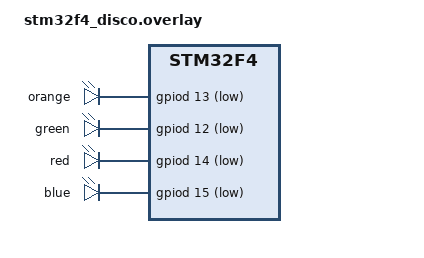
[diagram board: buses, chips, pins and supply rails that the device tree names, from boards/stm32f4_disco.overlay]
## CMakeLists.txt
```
cmake_minimum_required(VERSION 3.20.0)

list(APPEND BOARD_ROOT ${CMAKE_CURRENT_SOURCE_DIR})
find_package(Zephyr REQUIRED)
project(my_zephyr_app)

zephyr_library_sources(boards/my_board/board_init.c)

target_sources(app PRIVATE src/main.cpp)
```

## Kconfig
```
# Homework l3-task1

menuconfig LED_SUBSYSTEM
    bool "LED Subsystem"
    default y
    help
        Enable the LED subsystem for controlling LEDs.

if LED_SUBSYSTEM

# LED blink sleep time
choice
    prompt "Select the LED blink time"
    default BLINK_SLEEP_TIME_250
    
    config BLINK_SLEEP_TIME_250
        bool "very fast"

    config BLINK_SLEEP_TIME_1000
        bool "fast"

    config BLINK_SLEEP_TIME_2000
        bool "normal"

    config BLINK_SLEEP_TIME_3000
        bool "slow"
    
    config BLINK_SLEEP_TIME_5000
        bool "very slow"
endchoice

config BLINK_SLEEP_TIME_MS
    int 
    default 250 if BLINK_SLEEP_TIME_250
    default 1000 if BLINK_SLEEP_TIME_1000
    default 2000 if BLINK_SLEEP_TIME_2000
    default 3000 if BLINK_SLEEP_TIME_3000
    default 5000 if BLINK_SLEEP_TIME_5000
    default 0
    help
        LED Blink rate

# Menu for Advanced LED settings
menuconfig "ADVANCED_LED_SETTINGS"
    bool "Advanced LED settings"
    default y

if ADVANCED_LED_SETTINGS

config LED_BRIGHTNESS
    int "LED brightness (0-100)"
    default 100
    range 0 100

config LED_FADE_DURATION_MS
    int "Fade duration (ms)"
    default 500
    range 0 5000

# Menu for expert settings
menu "Expert settings"

# Toggle for LED debugging
menuconfig ENABLE_LED_DEBUG
    bool "Enable LED debugging"
    default n

if ENABLE_LED_DEBUG

# Choice for LED debugging
choice 
    prompt "Select the LED debugging level"
    default LED_DEBUG_BASIC

    config LED_DEBUG_BASIC
        bool "Basic"
    config LED_DEBUG_VERBOSE
        bool "Verbose"
endchoice
endif


# Toggle for custom blink pattern
menuconfig CUSTOM_BLINK_PATTERN
    bool "Custom blink pattern"
    default y

if CUSTOM_BLINK_PATTERN

# Choice for custom blink pattern
choice
    prompt "Select the LED blink pattern"
    default LED_BLINK_PATTERN_FAST

    config LED_BLINK_PATTERN_FAST
        bool "Fast"
    config LED_BLINK_PATTERN_SLOW
        bool "Slow"
endchoice

endif

endmenu # end menu for expert settings
endmenu # end menu for advanced LED settings

endif # end if LED_SUBSYSTEM

source "Kconfig.zephyr"
```

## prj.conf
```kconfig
CONFIG_GPIO=y
CONFIG_LOG=y
CONFIG_PRINTK=y
CONFIG_CONSOLE=y
CONFIG_UART_CONSOLE=y
CONFIG_OUR_DRIVER=y
CONFIG_SENSOR=y
CONFIG_SHELL=y
```

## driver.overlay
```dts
/ {
    our_driver0: our_driver {
        compatible = "our,driver";
        status = "okay";
    };

     our_driver1: our_driver1 {
        compatible = "our,driver";
        status = "okay";
    };

    aliases {
		warningled = &red_led;
	};

    leds {
		compatible = "gpio-leds";

		red_led: led_5 {
			gpios = <&gpiod 14 GPIO_ACTIVE_LOW>;
			label = "red";
		};

	};

};
```

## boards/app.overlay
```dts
/* homework l4-task1 */

/ {
	aliases {
		app-led = "/leds/led_3";
	};
};
```

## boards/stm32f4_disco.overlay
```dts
/ {
	aliases {
		warningled = &orange_led;
	};

	leds {
		compatible = "gpio-leds";

		orange_led: led_3 {
			gpios = <&gpiod 13 GPIO_ACTIVE_LOW>;
			label = "orange";
		};

		green_led: led_4 {
			gpios = <&gpiod 12 GPIO_ACTIVE_LOW>;
			label = "green";
		};

		red_led: led_5 {
			gpios = <&gpiod 14 GPIO_ACTIVE_LOW>;
			label = "red";
		};

		blue_led: led_6 {
			gpios = <&gpiod 15 GPIO_ACTIVE_LOW>;
			label = "blue";
		};
	};
};
```

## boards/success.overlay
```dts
/ {
	aliases {
		success-led = &green_led;
	};
};
```

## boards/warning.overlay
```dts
/ {
	aliases {
		warningled = &orange_led;
	};
};
```

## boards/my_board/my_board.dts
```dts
/dts-v1/;
#include <st/f4/stm32f401Xe.dtsi>
#include <st/f4/stm32f401r(d-e)tx-pinctrl.dtsi>

/ {
    model = "STMicroelectronics STM32F401RE-NUCLEO board";
	compatible = "st,stm32f401re-nucleo";

    chosen {
        zephyr,sram = &sram0;
		zephyr,flash = &flash0;
		zephyr,code-partition = &slot0_partition;
        zephyr,console = &usart2;
		zephyr,shell-uart = &usart2;
    };

    leds: leds {
		compatible = "gpio-leds";

		green_led: led_2 {
			gpios = <&gpiod 12 GPIO_ACTIVE_LOW>;
			label = "green";
		};

        red_led: led_5 {
			gpios = <&gpiod 14 GPIO_ACTIVE_LOW>;
			label = "red";
		};

		blue_led: led_6 {
			gpios = <&gpiod 15 GPIO_ACTIVE_LOW>;
			label = "blue";
		};

	};

    aliases {
		led0 = &green_led;
		led1 = &red_led;
        led2 = &blue_led;
	};
};

&flash0 {
    partitions {
        #address-cells = <1>;
        #size-cells = <1>;
        ranges;

        boot_partition: partition@0 {
            compatible = "zephyr,mapped-partition";
            label = "mcuboot";
            reg = <0x00000000 DT_SIZE_K(64)>;
            read-only;
        };

        /*
        * The flash starting at offset 0x10000 and ending at
        * offset 0x1ffff is reserved for use by the application.
        */

        slot0_partition: partition@20000 {
            compatible = "zephyr,mapped-partition";
            label = "image-0";
            reg = <0x00020000 DT_SIZE_K(128)>;
        };

        slot1_partition: partition@40000 {
            compatible = "zephyr,mapped-partition";
            label = "image-1";
            reg = <0x00040000 DT_SIZE_K(128)>;
        };

        scratch_partition: partition@60000 {
            compatible = "zephyr,mapped-partition";
            label = "image-scratch";
            reg = <0x00060000 DT_SIZE_K(128)>;
        };
    };
};

&rcc {
	clocks = <&pll>;
	clock-frequency = <DT_FREQ_M(84)>;
	ahb-prescaler = <1>;
	apb1-prescaler = <2>;
	apb2-prescaler = <1>;
};

&usart2 {
	pinctrl-0 = <&usart2_tx_pa2 &usart2_rx_pa3>;
	pinctrl-names = "default";
	current-speed = <115200>;
	status = "okay";
};
```

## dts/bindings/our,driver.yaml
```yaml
description: Our simple GPIO Driver
compatible: "our,driver"
include: base.yaml

properties:
  led-gpios:
    type: phandle-array
    required: false
    description: GPIO pin connected to LED
```

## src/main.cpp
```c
#include <zephyr/drivers/gpio.h>
#include <zephyr/drivers/sensor.h>
#include <zephyr/kernel.h>
#include <zephyr/logging/log.h>
#include "../drivers/our_driver/our_driver.h"

/* The devicetree node identifier for the "led0" alias. */
#define LED_NODE DT_ALIAS(led0)

static const struct gpio_dt_spec led = GPIO_DT_SPEC_GET(LED_NODE, gpios);

LOG_MODULE_REGISTER(main, LOG_LEVEL_INF);

namespace{
    void test(){
        const struct device* driver = DEVICE_DT_GET(DT_NODELABEL(our_driver1));
        struct sensor_value val;
        int ret = sensor_channel_get(driver, SENSOR_CHAN_AMBIENT_TEMP, &val);
        int ret1 = sensor_sample_fetch(driver);
        LOG_INF("Channel ret fetch=%d get=%d", ret1, ret);
        our_driver_set_led_blinkrate(driver, 100);
    }

    void led_sensor(){

    }
}

int main(void)
{
    test();
    bool led_state = true;

    if (!gpio_is_ready_dt(&led)) return 0;

    if (gpio_pin_configure_dt(&led, GPIO_OUTPUT_ACTIVE) < 0) return 0;

    while (1) {
        if (gpio_pin_toggle_dt(&led) < 0) return 0;

        led_state = !led_state;
        LOG_INF("LED state: %s", led_state ? "ON" : "OFF");
        k_msleep(CONFIG_APP_HEARTBEAT_PERIOD_MS);
        printk("Hello World! %s\n", CONFIG_BOARD_TARGET);
    }
    return 0;
}
```
